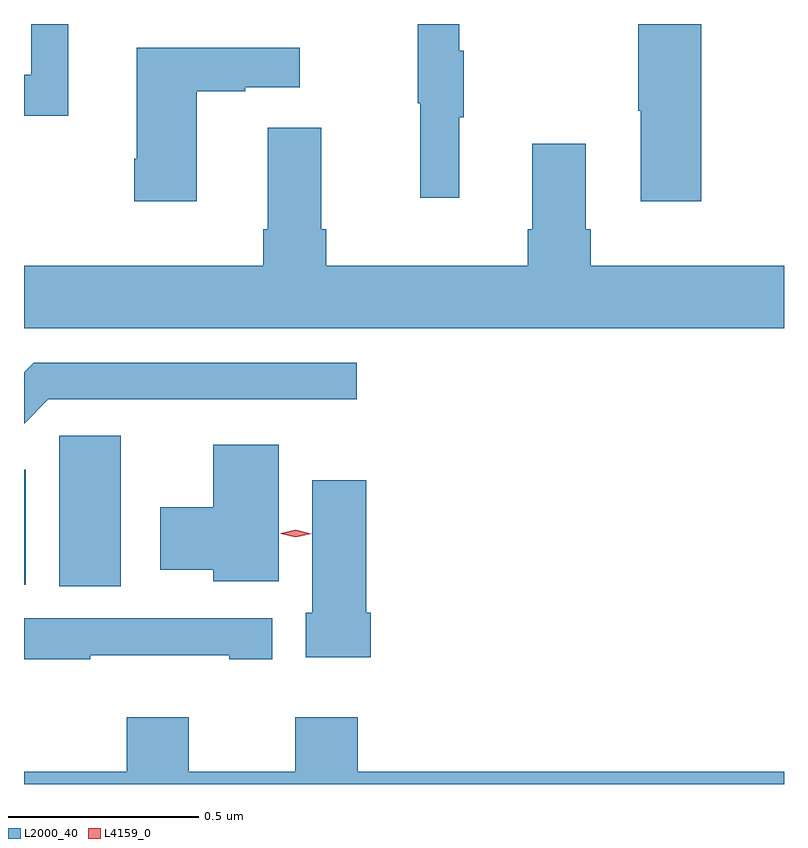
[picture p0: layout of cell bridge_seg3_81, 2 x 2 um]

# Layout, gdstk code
import gdstk
lib = gdstk.Library(unit=1e-6, precision=1e-09)
def R(c, l, rs):  # rectangles x0, y0, x1, y1
    for r in rs: c.add(gdstk.rectangle(r[:2], r[2:], *l))
def P(c, l, *ps):  # polygons
    for p in ps: c.add(gdstk.Polygon(p, *l))
L2000_40 = (2000, 40)
L4159_0 = (4159, 0)

bridge_seg3_81 = lib.new_cell('bridge_seg3_81')
R(bridge_seg3_81, L2000_40, [(454.85,674.929,455.011,675.325), (454.757,674.933,454.762,675.235)])
P(bridge_seg3_81, L2000_40, [(456.539,676.408),(456.373,676.408),(456.373,676.18),(456.38,676.18),(456.38,675.942),(456.539,675.942)],
  [(454.874,676.408),(454.776,676.408),(454.776,676.275),(454.757,676.275),(454.757,676.167),(454.874,676.167)],
  [(455.903,676.163),(455.914,676.163),(455.914,676.337),(455.903,676.337),(455.903,676.408),(455.793,676.408),(455.793,676.2),(455.8,676.2),(455.8,675.951),(455.903,675.951)],
  [(455.212,676.231),(455.339,676.231),(455.339,676.241),(455.482,676.241),(455.482,676.345),(455.054,676.345),(455.054,676.054),(455.047,676.054),(455.047,675.942),(455.212,675.942)],
  [(456.757,675.772),(456.248,675.772),(456.248,675.868),(456.235,675.868),(456.235,676.093),(456.095,676.093),(456.095,675.868),(456.083,675.868),(456.083,675.772),(455.552,675.772),(455.552,675.868),(455.539,675.868),(455.539,676.135),(455.399,676.135),(455.399,675.868),(455.387,675.868),(455.387,675.772),(454.757,675.772),(454.757,675.608),(456.757,675.608)],
  [(454.821,675.42),(455.632,675.42),(455.632,675.516),(454.782,675.516),(454.757,675.491),(454.757,675.356)],
  [(455.428,675.301),(455.255,675.301),(455.255,675.136),(455.115,675.136),(455.115,674.972),(455.255,674.972),(455.255,674.942),(455.428,674.942)],
  [(455.669,674.859),(455.657,674.859),(455.657,675.208),(455.516,675.208),(455.516,674.859),(455.498,674.859),(455.498,674.741),(455.669,674.741)],
  [(454.931,674.747),(455.297,674.747),(455.297,674.736),(455.41,674.736),(455.41,674.844),(454.757,674.844),(454.757,674.736),(454.931,674.736)],
  [(456.757,674.44),(455.635,674.44),(455.635,674.584),(455.471,674.584),(455.471,674.44),(455.191,674.44),(455.191,674.584),(455.027,674.584),(455.027,674.44),(454.757,674.44),(454.757,674.408),(456.757,674.408)])
P(bridge_seg3_81, L4159_0, [(455.472,675.057),(455.432,675.067),(455.432,675.067),(455.432,675.068),(455.472,675.077),(455.513,675.067),(455.513,675.067),(455.513,675.067)])

lib.write_gds('bridge_seg3_81.gds')
